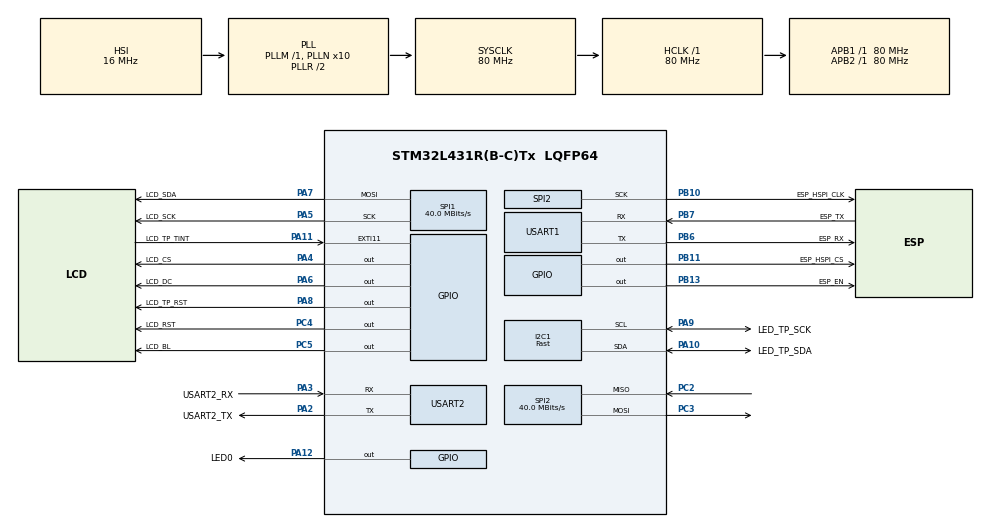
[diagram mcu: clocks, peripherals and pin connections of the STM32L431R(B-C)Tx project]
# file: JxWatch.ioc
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Dma.Request0=SPI1_TX
Dma.SPI1_TX.0.Direction=DMA_MEMORY_TO_PERIPH
Dma.SPI1_TX.0.Instance=DMA1_Channel3
Dma.SPI1_TX.0.MemDataAlignment=DMA_MDATAALIGN_HALFWORD
Dma.SPI1_TX.0.MemInc=DMA_MINC_ENABLE
Dma.SPI1_TX.0.Mode=DMA_NORMAL
Dma.SPI1_TX.0.PeriphDataAlignment=DMA_PDATAALIGN_HALFWORD
Dma.SPI1_TX.0.PeriphInc=DMA_PINC_DISABLE
Dma.SPI1_TX.0.Priority=DMA_PRIORITY_HIGH
I2C1.CustomTiming=Disabled
I2C1.I2C_Fall_Time=300
I2C1.I2C_Rise_Time=300
I2C1.I2C_Speed_Mode=I2C_Fast
I2C1.Speed=400
I2C1.Timing=0x20A60D20
Mcu.Family=STM32L4
Mcu.Name=STM32L431R(B-C)Tx
Mcu.Package=LQFP64
NVIC.DMA1_Channel3_IRQn=true\:5\:0\:true\:false\:true\:false\:true\:true
NVIC.EXTI15_10_IRQn=true\:5\:0\:true\:false\:true\:true\:true\:true
NVIC.I2C1_EV_IRQn=true\:0\:0\:false\:false\:true\:true\:true\:true
NVIC.PriorityGroup=NVIC_PRIORITYGROUP_4
NVIC.SPI1_IRQn=true\:0\:0\:false\:false\:true\:true\:true\:true
NVIC.SPI2_IRQn=true\:0\:0\:false\:false\:true\:true\:true\:true
NVIC.TIM6_DAC_IRQn=true\:15\:0\:true\:false\:true\:true\:true\:true
NVIC.USART1_IRQn=true\:0\:0\:false\:false\:true\:true\:true\:true
NVIC.USART2_IRQn=true\:0\:0\:false\:false\:true\:true\:true\:true
PA10.GPIO_Label=LED_TP_SDA
PA10.Mode=I2C
PA10.Signal=I2C1_SDA
PA11.GPIO_Label=LCD_TP_TINT
PA11.GPIO_ModeDefaultEXTI=GPIO_MODE_IT_FALLING
PA11.GPIO_PuPd=GPIO_PULLUP
PA11.Signal=GPXTI11
PA12.GPIO_Label=LED0
PA12.GPIO_Speed=GPIO_SPEED_FREQ_HIGH
PA12.PinState=GPIO_PIN_SET
PA12.Signal=GPIO_Output
PA13\ (JTMS-SWDIO).Mode=Serial_Wire
PA13\ (JTMS-SWDIO).Signal=SYS_JTMS-SWDIO
PA14\ (JTCK-SWCLK).Mode=Serial_Wire
PA14\ (JTCK-SWCLK).Signal=SYS_JTCK-SWCLK
PA2.GPIO_Label=USART2_TX
PA2.Mode=Asynchronous
PA2.Signal=USART2_TX
PA3.GPIO_Label=USART2_RX
PA3.Mode=Asynchronous
PA3.Signal=USART2_RX
PA4.GPIO_Label=LCD_CS
PA4.GPIO_Speed=GPIO_SPEED_FREQ_HIGH
PA4.PinState=GPIO_PIN_SET
PA4.Signal=GPIO_Output
PA5.GPIO_Label=LCD_SCK
PA5.Mode=TX_Only_Simplex_Unidirect_Master
PA5.Signal=SPI1_SCK
PA6.GPIO_Label=LCD_DC
PA6.GPIO_Speed=GPIO_SPEED_FREQ_HIGH
PA6.PinState=GPIO_PIN_SET
PA6.Signal=GPIO_Output
PA7.GPIO_Label=LCD_SDA
PA7.Mode=TX_Only_Simplex_Unidirect_Master
PA7.Signal=SPI1_MOSI
PA8.GPIO_Label=LCD_TP_RST
PA8.GPIO_Speed=GPIO_SPEED_FREQ_HIGH
PA8.PinState=GPIO_PIN_SET
PA8.Signal=GPIO_Output
PA9.GPIO_Label=LED_TP_SCK
PA9.Mode=I2C
PA9.Signal=I2C1_SCL
PB10.GPIO_Label=ESP_HSPI_CLK
PB10.Mode=Full_Duplex_Master
PB10.Signal=SPI2_SCK
PB11.GPIO_Label=ESP_HSPI_CS
PB11.GPIO_Speed=GPIO_SPEED_FREQ_HIGH
PB11.PinState=GPIO_PIN_SET
PB11.Signal=GPIO_Output
PB13.GPIO_Label=ESP_EN
PB13.GPIO_ModeDefaultOutputPP=GPIO_MODE_OUTPUT_PP
PB13.GPIO_PuPd=GPIO_PULLDOWN
PB13.GPIO_Speed=GPIO_SPEED_FREQ_HIGH
PB13.PinState=GPIO_PIN_SET
PB13.Signal=GPIO_Output
PB6.GPIO_Label=ESP_RX
PB6.Mode=Asynchronous
PB6.Signal=USART1_TX
PB7.GPIO_Label=ESP_TX
PB7.Mode=Asynchronous
PB7.Signal=USART1_RX
PC0.GPIO_Label=BAT_ADC
PC0.Signal=ADCx_IN1
PC2.Mode=Full_Duplex_Master
PC2.Signal=SPI2_MISO
PC3.Mode=Full_Duplex_Master
PC3.Signal=SPI2_MOSI
PC4.GPIO_Label=LCD_RST
PC4.GPIO_Speed=GPIO_SPEED_FREQ_HIGH
PC4.PinState=GPIO_PIN_SET
PC4.Signal=GPIO_Output
PC5.GPIO_Label=LCD_BL
PC5.GPIO_Speed=GPIO_SPEED_FREQ_HIGH
PC5.PinState=GPIO_PIN_SET
PC5.Signal=GPIO_Output
PH0-OSC_IN\ (PH0).Mode=HSE-External-Clock-Source
PH0-OSC_IN\ (PH0).Signal=RCC_OSC_IN
ProjectManager.HeapSize=0x200
ProjectManager.StackSize=0x400
ProjectManager.TargetToolchain=Makefile
RCC.ADCFreq_Value=64000000
RCC.AHBFreq_Value=80000000
RCC.APB1Freq_Value=80000000
RCC.APB1TimFreq_Value=80000000
RCC.APB2Freq_Value=80000000
RCC.APB2TimFreq_Value=80000000
RCC.CortexFreq_Value=80000000
RCC.HCLKFreq_Value=80000000
RCC.HSI48_VALUE=48000000
RCC.HSI_VALUE=16000000
RCC.LSE_VALUE=32768
RCC.MSI_VALUE=4000000
RCC.PLLN=10
RCC.PLLSourceVirtual=RCC_PLLSOURCE_HSI
RCC.SYSCLKFreq_VALUE=80000000
RCC.SYSCLKSource=RCC_SYSCLKSOURCE_PLLCLK
RCC.VCOOutputFreq_Value=160000000
SH.ADCx_IN1.0=ADC1_IN1
SPI1.BaudRatePrescaler=SPI_BAUDRATEPRESCALER_2
SPI1.CalculateBaudRate=40.0 MBits/s
SPI1.DataSize=SPI_DATASIZE_8BIT
SPI1.Direction=SPI_DIRECTION_2LINES
SPI1.Mode=SPI_MODE_MASTER
SPI1.VirtualType=VM_MASTER
SPI2.BaudRatePrescaler=SPI_BAUDRATEPRESCALER_2
SPI2.CalculateBaudRate=40.0 MBits/s
SPI2.Direction=SPI_DIRECTION_2LINES
SPI2.Mode=SPI_MODE_MASTER
SPI2.VirtualType=VM_MASTER
TIM6.AutoReloadPreload=TIM_AUTORELOAD_PRELOAD_ENABLE
TIM6.Period=1000
TIM6.Prescaler=80
USART1.VirtualMode-Asynchronous=VM_ASYNC
USART2.VirtualMode-Asynchronous=VM_ASYNC
VP_TIM6_VS_ClockSourceINT.Mode=Enable_Timer
board=custom

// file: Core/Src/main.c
/* USER CODE BEGIN Header */
/**
 ******************************************************************************
 * @file           : main.c
 * @brief          : Main program body
 ******************************************************************************
 * @attention
 *
 * Copyright (c) 2024 STMicroelectronics.
 * All rights reserved.
 *
 * This software is licensed under terms that can be found in the LICENSE file
 * in the root directory of this software component.
 * If no LICENSE file comes with this software, it is provided AS-IS.
 *
 ******************************************************************************
 */
/* USER CODE END Header */
#include "main.h"
#include "dma.h"
#include "i2c.h"
#include "spi.h"
#include "tim.h"
#include "usart.h"
#include "gpio.h"

void SystemClock_Config(void);

/* USER CODE BEGIN 0 */
extern void app_test(void);
extern void app_init(void);
void vApplicationTickHook(void)
{
  lv_tick_inc(10);
}

void xTaskInit(void)
{
  extern void xTask_Lvgl_handler(void *param);
  extern void xTask_Test(void *param);

  if (xTaskCreate(xTask_Lvgl_handler, "LVGL_Handler", 128 * 5, NULL, 1, NULL) != pdPASS)
    return;

  if (xTaskCreate(xTask_Test, "Task_Test", 64, NULL, 4, NULL) != pdPASS)
    return;

  /** Start FreeRTOS Tick */
  HAL_TIM_Base_Start_IT(&htim6);
  vTaskStartScheduler();
}

void reset_self_check(void){

}

// void
/* USER CODE END 0 */

int main(void)
{

  /* MCU Configuration--------------------------------------------------------*/

  /* Reset of all peripherals, Initializes the Flash interface and the Systick. */
  HAL_Init();

  /* Configure the system clock */
  SystemClock_Config();

  /* Initialize all configured peripherals */
  MX_GPIO_Init();
  MX_DMA_Init();
  MX_I2C1_Init();
  MX_SPI1_Init();
  MX_SPI2_Init();
  MX_USART1_UART_Init();
  MX_USART2_UART_Init();
  MX_TIM6_Init();
  /* USER CODE BEGIN 2 */

  // Test
  app_test();

  /* Initialize App*/
  app_init();

  xTaskInit();

  /* USER CODE END 2 */

  /* Infinite loop */
  while (1)
  {

  }
}

void SystemClock_Config(void)
{
  RCC_OscInitTypeDef RCC_OscInitStruct = {0};
  RCC_ClkInitTypeDef RCC_ClkInitStruct = {0};

  /** Configure the main internal regulator output voltage
  */
  if (HAL_PWREx_ControlVoltageScaling(PWR_REGULATOR_VOLTAGE_SCALE1) != HAL_OK)
  {
    Error_Handler();
  }

  /** Initializes the RCC Oscillators according to the specified parameters
  * in the RCC_OscInitTypeDef structure.
  */
  RCC_OscInitStruct.OscillatorType = RCC_OSCILLATORTYPE_HSI;
  RCC_OscInitStruct.HSIState = RCC_HSI_ON;
  RCC_OscInitStruct.HSICalibrationValue = RCC_HSICALIBRATION_DEFAULT;
  RCC_OscInitStruct.PLL.PLLState = RCC_PLL_ON;
  RCC_OscInitStruct.PLL.PLLSource = RCC_PLLSOURCE_HSI;
  RCC_OscInitStruct.PLL.PLLM = 1;
  RCC_OscInitStruct.PLL.PLLN = 10;
  RCC_OscInitStruct.PLL.PLLP = RCC_PLLP_DIV7;
  RCC_OscInitStruct.PLL.PLLQ = RCC_PLLQ_DIV2;
  RCC_OscInitStruct.PLL.PLLR = RCC_PLLR_DIV2;
  if (HAL_RCC_OscConfig(&RCC_OscInitStruct) != HAL_OK)
  {
    Error_Handler();
  }

  /** Initializes the CPU, AHB and APB buses clocks
  */
  RCC_ClkInitStruct.ClockType = RCC_CLOCKTYPE_HCLK|RCC_CLOCKTYPE_SYSCLK
                              |RCC_CLOCKTYPE_PCLK1|RCC_CLOCKTYPE_PCLK2;
  RCC_ClkInitStruct.SYSCLKSource = RCC_SYSCLKSOURCE_PLLCLK;
  RCC_ClkInitStruct.AHBCLKDivider = RCC_SYSCLK_DIV1;
  RCC_ClkInitStruct.APB1CLKDivider = RCC_HCLK_DIV1;
  RCC_ClkInitStruct.APB2CLKDivider = RCC_HCLK_DIV1;

  if (HAL_RCC_ClockConfig(&RCC_ClkInitStruct, FLASH_LATENCY_4) != HAL_OK)
  {
    Error_Handler();
  }
}

void Error_Handler(void)
{
  __disable_irq();
  while (1)
  {
  }
}
